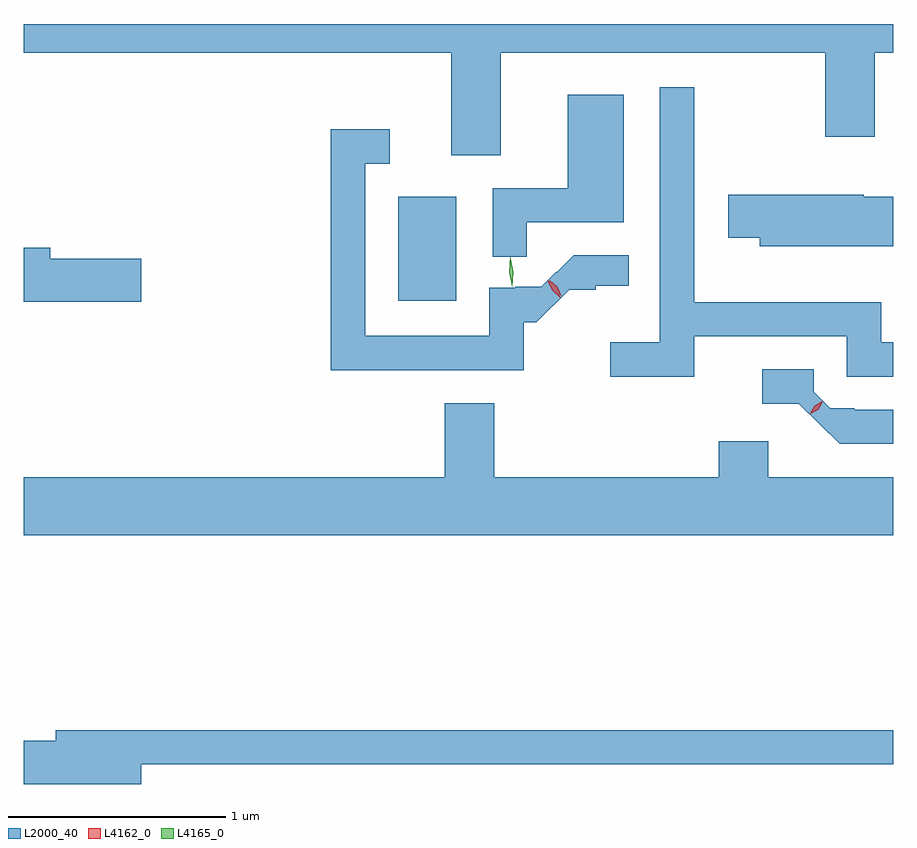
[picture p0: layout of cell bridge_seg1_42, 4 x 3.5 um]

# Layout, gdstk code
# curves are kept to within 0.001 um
import gdstk
lib = gdstk.Library(unit=1e-6, precision=1e-09)
def R(c, l, rs):  # rectangles x0, y0, x1, y1
    for r in rs: c.add(gdstk.rectangle(r[:2], r[2:], *l))
def P(c, l, *ps):  # polygons
    for p in ps: c.add(gdstk.Polygon(p, *l))
L2000_40 = (2000, 40)
L4162_0 = (4162, 0)
L4165_0 = (4165, 0)

bridge_seg1_42 = lib.new_cell('bridge_seg1_42')
R(bridge_seg1_42, L2000_40, [(1763.676,947.276,1763.944,947.754)])
P(bridge_seg1_42, L2000_40, [(1764.149,948.416),(1765.641,948.416),(1765.641,948.031),(1765.869,948.031),(1765.869,948.416),(1765.954,948.416),(1765.954,948.549),(1761.954,948.549),(1761.954,948.416),(1763.921,948.416),(1763.921,947.946),(1764.149,947.946)],
  [(1765.039,947.111),(1765.741,947.111),(1765.741,946.926),(1765.954,946.926),(1765.954,947.084),(1765.899,947.084),(1765.899,947.269),(1765.039,947.269),(1765.039,948.258),(1764.881,948.258),(1764.881,947.084),(1764.653,947.084),(1764.653,946.926),(1765.039,946.926)],
  [(1764.269,947.636),(1764.714,947.636),(1764.714,948.224),(1764.456,948.224),(1764.456,947.794),(1764.111,947.794),(1764.111,947.478),(1764.269,947.478)],
  [(1764.254,947.176),(1764.313,947.176),(1764.463,947.326),(1764.585,947.326),(1764.585,947.344),(1764.738,947.344),(1764.738,947.484),(1764.484,947.484),(1764.406,947.406),(1764.404,947.408),(1764.335,947.339),(1764.215,947.339),(1764.215,947.334),(1764.096,947.334),(1764.096,947.114),(1763.524,947.114),(1763.524,947.906),(1763.638,947.906),(1763.638,948.064),(1763.366,948.064),(1763.366,946.956),(1764.254,946.956)],
  [(1765.954,947.754),(1765.82,947.754),(1765.82,947.764),(1765.196,947.764),(1765.196,947.566),(1765.341,947.566),(1765.341,947.526),(1765.954,947.526)],
  [(1762.494,947.469),(1762.074,947.469),(1762.074,947.519),(1761.954,947.519),(1761.954,947.271),(1762.494,947.271)],
  [(1765.954,946.774),(1765.775,946.774),(1765.775,946.781),(1765.664,946.781),(1765.588,946.857),(1765.588,946.959),(1765.353,946.959),(1765.353,946.802),(1765.521,946.802),(1765.709,946.616),(1765.954,946.616)],
  [(1765.954,946.464),(1765.379,946.464),(1765.379,946.629),(1765.151,946.629),(1765.151,946.464),(1764.119,946.464),(1764.119,946.804),(1763.891,946.804),(1763.891,946.464),(1761.954,946.464),(1761.954,946.196),(1765.954,946.196)],
  [(1762.494,945.141),(1765.954,945.141),(1765.954,945.299),(1762.101,945.299),(1762.101,945.249),(1761.954,945.249),(1761.954,945.051),(1762.494,945.051)])
P(bridge_seg1_42, L4162_0, [(1765.572,946.756),(1765.572,946.757),(1765.594,946.792),(1765.629,946.813),(1765.63,946.813),(1765.63,946.812),(1765.608,946.777),(1765.573,946.756)],
  [(1765.58,946.758),(1765.58,946.759),(1765.596,946.789),(1765.626,946.806),(1765.627,946.806),(1765.627,946.805),(1765.611,946.775),(1765.581,946.758)],
  [(1764.423,947.289),(1764.386,947.323),(1764.365,947.368),(1764.365,947.368),(1764.366,947.368),(1764.402,947.335),(1764.424,947.29),(1764.424,947.289)],
  [(1764.427,947.299),(1764.393,947.328),(1764.374,947.368),(1764.374,947.369),(1764.374,947.369),(1764.409,947.34),(1764.428,947.299),(1764.428,947.299)])
P(bridge_seg1_42, L4165_0, [(1764.201,947.342),(1764.187,947.407),(1764.192,947.474),(1764.192,947.474),(1764.192,947.474),(1764.207,947.408),(1764.202,947.342),(1764.202,947.342)],
  [(1764.202,947.339),(1764.201,947.34),(1764.187,947.407),(1764.192,947.477),(1764.192,947.477),(1764.192,947.477),(1764.207,947.409),(1764.202,947.34)])

lib.write_gds('bridge_seg1_42.gds')
